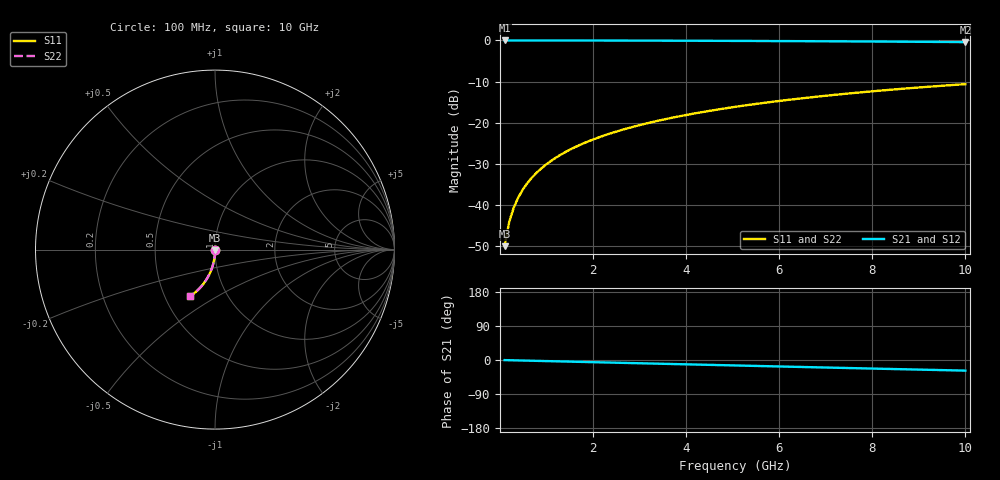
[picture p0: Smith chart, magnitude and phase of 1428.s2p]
# Hz S RI R 50.00
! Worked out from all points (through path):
!   100 points, 100 MHz to 10 GHz, reference 50 ohm
!   highest |S21| = 0.00 dB at 100 MHz (marker M1); lowest = -0.4 dB at 10 GHz (marker M2)
!   group delay of S21, straight-line fit = 7.8 ps
!   lowest |S11| = -50.1 dB at 100 MHz (marker M3), VSWR 1.01, Z = 50 - j0.313 ohm
!   |S11| at or under -10 dB: start of sweep to end of sweep
!   |S22| runs from -50.1 to -10.6 dB; largest |S21 - S12| = 0
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1e8  0.000335 -0.00312  0.9996 -0.00499  0.9996 -0.00499  0.000335 -0.00312
2e8  0.000286 -0.00625  0.9996 -0.00998  0.9996 -0.00998  0.000286 -0.00625
3e8  0.000206 -0.00937  0.9995 -0.015  0.9995 -0.015  0.000206 -0.00937
4e8  9.48e-05 -0.0125  0.9993 -0.02  0.9993 -0.02  9.48e-05 -0.0125
5e8  -4.81e-05 -0.0156  0.9992 -0.0249  0.9992 -0.0249  -4.81e-05 -0.0156
6e8  -0.000222 -0.0187  0.999 -0.0299  0.999 -0.0299  -0.000222 -0.0187
7e8  -0.000428 -0.0219  0.9988 -0.0349  0.9988 -0.0349  -0.000428 -0.0219
8e8  -0.000664 -0.025  0.9985 -0.0399  0.9985 -0.0399  -0.000664 -0.025
9e8  -0.000932 -0.0281  0.9982 -0.0449  0.9982 -0.0449  -0.000932 -0.0281
1.1e9  -0.00156 -0.0343  0.9975 -0.0548  0.9975 -0.0548  -0.00156 -0.0343
1.4e9  -0.00274 -0.0436  0.9962 -0.0697  0.9962 -0.0697  -0.00274 -0.0436
1.8e9  -0.00474 -0.0559  0.994 -0.0895  0.994 -0.0895  -0.00474 -0.0559
2.1e9  -0.00656 -0.0651  0.9919 -0.1043  0.9919 -0.1043  -0.00656 -0.0651
2.5e9  -0.00941 -0.0773  0.9887 -0.124  0.9887 -0.124  -0.00941 -0.0773
2.9e9  -0.0127 -0.0893  0.985 -0.1435  0.985 -0.1435  -0.0127 -0.0893
3.4e9  -0.0176 -0.1041  0.9796 -0.1677  0.9796 -0.1677  -0.0176 -0.1041
4.2e9  -0.0268 -0.1271  0.9694 -0.2058  0.9694 -0.2058  -0.0268 -0.1271
5.1e9  -0.0392 -0.152  0.9554 -0.2476  0.9554 -0.2476  -0.0392 -0.152
5.9e9  -0.052 -0.173  0.9411 -0.2837  0.9411 -0.2837  -0.052 -0.173
6.7e9  -0.0663 -0.1928  0.925 -0.3187  0.925 -0.3187  -0.0663 -0.1928
8.4e9  -0.101 -0.2303  0.8855 -0.3887  0.8855 -0.3887  -0.101 -0.2303
1e10  -0.1381 -0.2595  0.843 -0.4487  0.843 -0.4487  -0.1381 -0.2595
